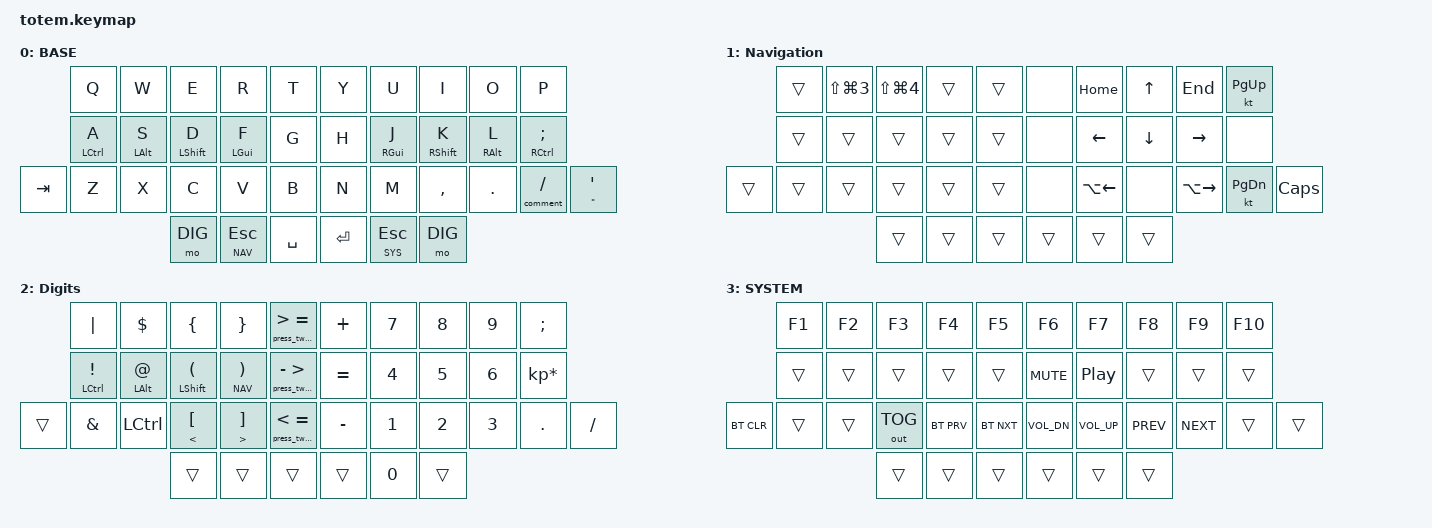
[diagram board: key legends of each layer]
//
//                                                        ▀▀▀▀▀     ▀▀▀▀▀          ▀▀█▀▀
//                                                        ▄▀▀▀▄  ▄  ▄▀▀▀▄  ▄  ▄▀▀▀▄  █  ▄▀▀▀▄
//                                                        █   █  █  █   █  █  █   █  █  █   █
//                                                         ▀▀▀   █   ▀▀▀   █   ▀▀▀   ▀   ▀▀▀
//                                                               █      ▄▄▄█▄▄▄    █   █
//                                                               ▀      █  █  █     █▄█
//                                                             ▀▀▀▀▀    █  █  █      ▀
//                                                                      ▀  ▀  ▀
//
// ▄▄▄▄▄▄▄▄▄▄▄▄▄▄▄▄▄▄▄▄▄▄▄▄▄▄▄▄▄▄▄▄▄▄▄▄▄▄▄▄▄▄▄▄▄▄▄▄▄▄▄▄▄▄▄▄▄▄▄▄▄▄▄▄▄▄▄▄▄▄▄▄▄▄▄▄▄▄▄▄▄▄▄▄▄▄▄▄▄▄▄▄▄▄▄▄▄▄▄▄▄▄▄▄▄▄▄▄▄▄▄▄▄▄▄▄▄▄▄▄▄▄▄▄▄▄▄▄▄▄▄▄▄▄▄▄▄▄▄▄▄▄▄▄▄▄▄▄▄

#include <dt-bindings/zmk/bt.h>
#include <dt-bindings/zmk/keys.h>
#include <dt-bindings/zmk/outputs.h>
#include "zmk-helpers/helper.h"
#include "zmk-helpers/key-labels/totem.h"
#include <behaviors.dtsi>

#define BASE 0
#define NAV  1
#define DIG  2
#define SYS  3

#define QUICK_TAP_MS 175

/* Timeless homerow mods */
// https://github.com/urob/zmk-config/tree/main#timeless-homerow-mods

#define KEYS_L LT0 LT1 LT2 LT3 LT4 LM0 LM1 LM2 LM3 LM4 LB0 LB1 LB2 LB3 LB4 LB5  // left hand
#define KEYS_R RT0 RT1 RT2 RT3 RT4 RM0 RM1 RM2 RM3 RM4 RB0 RB1 RB2 RB3 RB4 RB5  // right hand
#define THUMBS LH2 LH1 LH0 RH0 RH1 RH2 // thumb cluster for both hands

#define MAKE_HRM(NAME, HOLD, TAP, TRIGGER_POS) \
    ZMK_HOLD_TAP(NAME, \
        flavor = "balanced"; \
        tapping-term-ms = <280>; \
        quick-tap-ms = <QUICK_TAP_MS>; \
        require-prior-idle-ms = <150>; \
        bindings = <HOLD>, <TAP>; \
        hold-trigger-key-positions = <TRIGGER_POS>; \
        hold-trigger-on-release; \
    )

MAKE_HRM(hml, &kp, &kp, KEYS_R THUMBS)  // left-hand HRMs
MAKE_HRM(hmr, &kp, &kp, KEYS_L THUMBS)  // right-hand HRMs
MAKE_HRM(hml_layer, &mo, &kp, KEYS_R THUMBS) // switch layer like HRM


&mt {
    quick-tap-ms = <100>;
    global-quick-tap;
    flavor = "tap-preferred";
    tapping-term-ms = <170>;
};

/ {
    combos {
        compatible = "zmk,combos";

        backspace {
            bindings = <&kp BACKSPACE>;
            key-positions = <16 17>;
            timeout-ms = <70>;
        };

        opt_backspace {
            bindings = <&kp LA(BACKSPACE)>;
            key-positions = <16 17 18>;
            timeout-ms = <70>;
        };

        shift {
            bindings = <&sk LEFT_SHIFT>;
            key-positions = <13 12>;
            timeout-ms = <100>;
        };

        to_digits_layer {
            bindings = <&to 3>;
            key-positions = <32 37>;
        };
    };

    macros {
        /**
         * Temporarily switches to a layer (`&mo`) while a modifier is held.
         * Analogous to QMK's `LM()`, using a parameterized macro.
         *
         * Params:
         *  1. Layer to switch to
         *  2. Modifier to press while layer is active
         *
         * Example:
         *  `&lm NUM_LAYER LSHIFT`
         */
        lm: lm {
            compatible = "zmk,behavior-macro-two-param";
            wait-ms = <0>;
            tap-ms = <0>;
            #binding-cells = <2>;
            bindings =
                <&macro_param_1to1>,
                <&macro_press>,
                <&mo MACRO_PLACEHOLDER &macro_param_2to1>,
                <&macro_press>,
                <&kp MACRO_PLACEHOLDER>,
                <&macro_pause_for_release>,
                <&macro_param_2to1>,
                <&macro_release>,
                <&kp MACRO_PLACEHOLDER &macro_param_1to1>,
                <&macro_release>,
                <&mo MACRO_PLACEHOLDER>;
        };

        press_two_keys: press_two_keys {
            compatible = "zmk,behavior-macro-two-param";
            wait-ms = <0>;
            tap-ms = <0>;
            #binding-cells = <2>;
            bindings =
                <&macro_param_1to1>,
                <&macro_tap>,
                <&kp MACRO_PLACEHOLDER &macro_param_2to1>,
                <&macro_tap>,
                <&kp MACRO_PLACEHOLDER>;
        };

        more_or_equal: more_or_equal {
            compatible = "zmk,behavior-macro";
            #binding-cells = <0>;
            bindings = <&kp MINUS &kp GT>;
            label = "MORE_OR_EQUAL";
        };

        less_or_equal: less_or_equal {
            compatible = "zmk,behavior-macro";
            #binding-cells = <0>;
            bindings = <&kp LT &kp EQUAL>;
            label = "LESS_OR_EQUAL";
        };

        fun_arrow_right: fun_arrow_right {
            compatible = "zmk,behavior-macro";
            #binding-cells = <0>;
            bindings = <&kp MINUS &kp GT>;
            label = "FUN_ARROW_RIGHT";
        };

        comment: comment {
            compatible = "zmk,behavior-macro";
            #binding-cells = <0>;
            bindings = <&kp FSLH &kp STAR>;
            label = "MACROS_COMMENT";
        };
    };

    behaviors {

        comment_or: comment_or {
            compatible = "zmk,behavior-hold-tap";
            label = "slash_or_comm";
            bindings = <&comment>, <&kp>;

            #binding-cells = <2>;
            tapping-term-ms = <200>;
            flavor = "tap-preferred";
        };
    };

    keymap {
        compatible = "zmk,keymap";

        Norman {
            label = "BASE";
            bindings = <
//          ╭──────────────┬─────────────┬──────────────┬─────────────────┬─────────────╮        ╭─────────────┬──────────────────┬──────────────┬──────────────────┬──────────────────────╮
              &kp Q          &kp W         &kp E          &kp R             &kp T                  &kp Y         &kp U              &kp I          &kp O              &kp P
//          ├──────────────┼─────────────┼──────────────┼─────────────────┼─────────────┤        ├─────────────┼──────────────────┼──────────────┼──────────────────┼──────────────────────┤
              &hml LCTRL A   &hml LALT S   &hml LSHFT D   &hml LEFT_GUI F   &kp G                  &kp H         &hmr RIGHT_GUI J   &hmr RSHFT K   &hmr RIGHT_ALT L   &hmr RCTRL SEMICOLON
// ╭────────┼──────────────┼─────────────┼──────────────┼─────────────────┼─────────────┤        ├─────────────┼──────────────────┼──────────────┼──────────────────┼──────────────────────┼──────────────────╮
     &kp TAB  &kp Z          &kp X         &kp C          &kp V             &kp B                  &kp N         &kp M              &kp COMMA      &kp DOT            &comment_or 0 SLASH    &mt DOUBLE_QUOTES SQT
// ╰────────┴──────────────┴─────────────┼──────────────┼─────────────────┼─────────────┤        ├─────────────┼──────────────────┼──────────────┼──────────────────┴──────────────────────┴──────────────────╯
                                           &mo DIG        &lt NAV ESC       &kp SPACE              &kp RET       &lt SYS ESC        &mo DIG
//                                       ╰──────────────┴─────────────────┴─────────────╯        ╰─────────────┴──────────────────┴──────────────╯
            >;
        };

        Navigation {
            label = "Navigation";
            bindings = <
//          ╭──────────────┬───────────────────────┬──────────────────────┬───────────────────┬─────────────╮        ╭─────────────┬──────────────────┬──────────────┬──────────────────┬──────────────────────╮
              &trans         &kp LS(LG(NUMBER_3))    &kp LS(LG(NUMBER_4))   &trans              &trans                    &none       &kp HOME           &kp UP         &kp END            &kt PAGE_UP
//          ├──────────────┼───────────────────────┼──────────────────────┼───────────────────┼─────────────┤        ├─────────────┼──────────────────┼──────────────┼──────────────────┼──────────────────────┤
              &trans         &trans                  &trans                 &trans              &trans                    &none       &kp LEFT           &kp DOWN       &kp RIGHT          &none
// ╭────────┼──────────────┼───────────────────────┼──────────────────────┼───────────────────┼─────────────┤        ├─────────────┼──────────────────┼──────────────┼──────────────────┼──────────────────────┼──────────────────╮
     &trans   &trans         &trans                  &trans                 &trans              &trans                    &none       &kp LA(LEFT)       &none          &kp LA(RIGHT)      &kt PAGE_DOWN          &kp CAPSLOCK
// ╰────────┴──────────────┴───────────────────────┼──────────────────────┼───────────────────┼─────────────┤        ├─────────────┼──────────────────┼──────────────┼──────────────────┴──────────────────────┴──────────────────╯
                                                     &trans                 &trans              &trans                    &trans      &trans             &trans
//                                                 ╰──────────────────────┴───────────────────┴─────────────╯        ╰─────────────┴──────────────────┴──────────────╯
            >;
        };


        digits {
            label = "Digits";
            bindings = <
//          ╭────────────────────────┬──────────────────────┬────────────────────────────┬──────────────────────────────┬────────────────────────────────────╮        ╭─────────────┬──────────────────┬──────────────┬──────────────────┬──────────────────────╮
              &kp PIPE                 &kp DOLLAR             &kp LEFT_BRACE               &kp RIGHT_BRACE                &press_two_keys GREATER_THAN EQUAL            &kp PLUS      &kp N7             &kp N8         &kp N9             &kp SEMICOLON
//          ├────────────────────────┼──────────────────────┼────────────────────────────┼──────────────────────────────┼────────────────────────────────────┤        ├─────────────┼──────────────────┼──────────────┼──────────────────┼──────────────────────┤
              &hml LCTRL EXCLAMATION   &hml LEFT_ALT AT_SIGN  &hml LSHFT LEFT_PARENTHESIS  &lt NAV RIGHT_PARENTHESIS      &press_two_keys MINUS GREATER_THAN            &kp EQUAL     &kp N4             &kp N5         &kp N6             &kp KP_MULTIPLY
// ╭────────┼────────────────────────┼──────────────────────┼────────────────────────────┼──────────────────────────────┼────────────────────────────────────┤        ├─────────────┼──────────────────┼──────────────┼──────────────────┼──────────────────────┼──────────────────╮
    &trans    &kp AMPERSAND            &kp LCTRL              &mt LESS_THAN LEFT_BRACKET   &mt GREATER_THAN RIGHT_BRACKET &press_two_keys LESS_THAN EQUAL               &kp MINUS     &kp N1             &kp N2         &kp N3             &kp PERIOD             &kp SLASH
// ╰────────┴────────────────────────┴──────────────────────┼────────────────────────────┼──────────────────────────────┼────────────────────────────────────┤        ├─────────────┼──────────────────┼──────────────┼──────────────────┴──────────────────────┴──────────────────╯
                                                              &trans                       &trans                         &trans                                        &trans        &kp N0             &trans
//                                                          ╰────────────────────────────┴──────────────────────────────┴────────────────────────────────────╯        ╰─────────────┴──────────────────┴──────────────╯
            >;
        };

        sim_layer {
            label = "SYSTEM";
            bindings = <
//            ╭─────────┬─────────┬──────────────┬────────────┬─────────────╮        ╭─────────────┬──────────────┬────────────┬────────────┬──────────╮
                &kp F1    &kp F2    &kp F3         &kp F4       &kp F5                 &kp F6        &kp F7         &kp F8       &kp F9       &kp F10
//            ├─────────┼─────────┼──────────────┼────────────┼─────────────┤        ├─────────────┼──────────────┼────────────┼────────────┼──────────┤
                &trans    &trans    &trans         &trans       &trans                 &kp C_MUTE    &kp C_PP       &trans       &trans       &trans
// ╭──────────┼─────────┼─────────┼──────────────┼────────────┼─────────────┤        ├─────────────┼──────────────┼────────────┼────────────┼──────────┼──────────╮
    &bt BT_CLR  &trans    &trans    &out OUT_TOG   &bt BT_PRV   &bt BT_NXT             &kp C_VOL_DN  &kp C_VOL_UP   &kp C_PREV   &kp C_NEXT   &trans     &trans
// ╰──────────┴─────────┴─────────┼──────────────┼────────────┼─────────────┤        ├─────────────┼──────────────┼────────────┼────────────┴──────────┴──────────╯
                                    &trans         &trans       &trans                 &trans        &trans         &trans
//                                ╰──────────────┴────────────┴─────────────╯        ╰─────────────┴──────────────┴────────────╯
            >;
        };
    };
};
